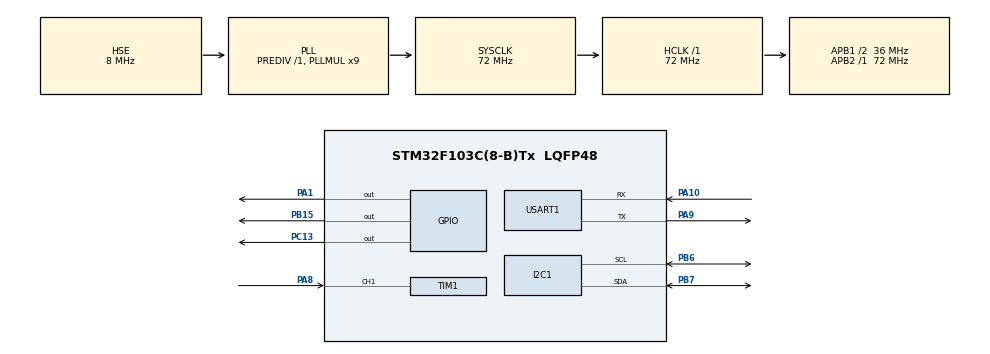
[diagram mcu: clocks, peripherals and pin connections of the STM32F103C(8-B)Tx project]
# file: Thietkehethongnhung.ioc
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Dma.Request0=USART1_RX
Dma.Request1=USART1_TX
Dma.USART1_RX.0.Direction=DMA_PERIPH_TO_MEMORY
Dma.USART1_RX.0.Instance=DMA1_Channel5
Dma.USART1_RX.0.MemDataAlignment=DMA_MDATAALIGN_BYTE
Dma.USART1_RX.0.MemInc=DMA_MINC_ENABLE
Dma.USART1_RX.0.Mode=DMA_NORMAL
Dma.USART1_RX.0.PeriphDataAlignment=DMA_PDATAALIGN_BYTE
Dma.USART1_RX.0.PeriphInc=DMA_PINC_DISABLE
Dma.USART1_RX.0.Priority=DMA_PRIORITY_LOW
Dma.USART1_TX.1.Direction=DMA_MEMORY_TO_PERIPH
Dma.USART1_TX.1.Instance=DMA1_Channel4
Dma.USART1_TX.1.MemDataAlignment=DMA_MDATAALIGN_BYTE
Dma.USART1_TX.1.MemInc=DMA_MINC_ENABLE
Dma.USART1_TX.1.Mode=DMA_NORMAL
Dma.USART1_TX.1.PeriphDataAlignment=DMA_PDATAALIGN_BYTE
Dma.USART1_TX.1.PeriphInc=DMA_PINC_DISABLE
Dma.USART1_TX.1.Priority=DMA_PRIORITY_LOW
FREERTOS.INCLUDE_vTaskDelayUntil=1
FREERTOS.Queues01=myQueue01,16,uint16_t,0,Dynamic,NULL,NULL
FREERTOS.Tasks01=defaultTask,0,128,StartDefaultTask,Default,NULL,Dynamic,NULL,NULL
FREERTOS.configTIMER_TASK_PRIORITY=6
FREERTOS.configUSE_COUNTING_SEMAPHORES=1
FREERTOS.configUSE_TIMERS=1
Mcu.Family=STM32F1
Mcu.Name=STM32F103C(8-B)Tx
Mcu.Package=LQFP48
NVIC.DMA1_Channel4_IRQn=true\:5\:0\:false\:false\:true\:true\:false\:true
NVIC.DMA1_Channel5_IRQn=true\:5\:0\:false\:false\:true\:true\:false\:true
NVIC.PriorityGroup=NVIC_PRIORITYGROUP_4
NVIC.TIM1_CC_IRQn=true\:5\:0\:false\:false\:true\:true\:true\:true
NVIC.TIM2_IRQn=true\:5\:0\:false\:false\:true\:true\:true\:true
NVIC.TIM3_IRQn=true\:0\:0\:false\:false\:true\:false\:false\:true
NVIC.TimeBase=TIM3_IRQn
NVIC.TimeBaseIP=TIM3
NVIC.USART1_IRQn=true\:5\:0\:false\:false\:true\:true\:true\:true
PA1.Signal=GPIO_Output
PA10.Mode=Asynchronous
PA10.Signal=USART1_RX
PA13.Mode=Serial_Wire
PA13.Signal=SYS_JTMS-SWDIO
PA14.Mode=Serial_Wire
PA14.Signal=SYS_JTCK-SWCLK
PA8.Signal=S_TIM1_CH1
PA9.Mode=Asynchronous
PA9.Signal=USART1_TX
PB15.Signal=GPIO_Output
PB6.Mode=I2C
PB6.Signal=I2C1_SCL
PB7.Mode=I2C
PB7.Signal=I2C1_SDA
PC13-TAMPER-RTC.Signal=GPIO_Output
PD0-OSC_IN.Mode=HSE-External-Oscillator
PD0-OSC_IN.Signal=RCC_OSC_IN
PD1-OSC_OUT.Mode=HSE-External-Oscillator
PD1-OSC_OUT.Signal=RCC_OSC_OUT
ProjectManager.HeapSize=0x200
ProjectManager.StackSize=0x400
ProjectManager.TargetToolchain=MDK-ARM V5.27
RCC.AHBFreq_Value=72000000
RCC.APB1CLKDivider=RCC_HCLK_DIV2
RCC.APB1Freq_Value=36000000
RCC.APB1TimFreq_Value=72000000
RCC.APB2Freq_Value=72000000
RCC.APB2TimFreq_Value=72000000
RCC.HCLKFreq_Value=72000000
RCC.PLLMUL=RCC_PLL_MUL9
RCC.PLLSourceVirtual=RCC_PLLSOURCE_HSE
RCC.SYSCLKFreq_VALUE=72000000
RCC.SYSCLKSource=RCC_SYSCLKSOURCE_PLLCLK
RCC.USBFreq_Value=72000000
SH.S_TIM1_CH1.0=TIM1_CH1,Input_Capture1_from_TI1
TIM1.Channel-Input_Capture1_from_TI1=TIM_CHANNEL_1
TIM1.Period=0xffff-1
TIM1.Prescaler=72-1
TIM2.AutoReloadPreload=TIM_AUTORELOAD_PRELOAD_ENABLE
TIM2.Period=1999
TIM2.Prescaler=7200-1
USART1.VirtualMode=VM_ASYNC
VP_FREERTOS_VS_CMSIS_V1.Mode=CMSIS_V1
VP_SYS_VS_tim3.Mode=TIM3
VP_TIM2_VS_ClockSourceINT.Mode=Internal
board=custom

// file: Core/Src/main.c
/* USER CODE BEGIN Header */
/**
  ******************************************************************************
  * @file           : main.c
  * @brief          : Main program body
  ******************************************************************************
  * @attention
  *
  * <h2><center>&copy; Copyright (c) 2022 STMicroelectronics.
  * All rights reserved.</center></h2>
  *
  * This software component is licensed by ST under Ultimate Liberty license
  * SLA0044, the "License"; You may not use this file except in compliance with
  * the License. You may obtain a copy of the License at:
  *                             www.st.com/SLA0044
  *
  ******************************************************************************
  */
/* USER CODE END Header */
#include "main.h"
#include "cmsis_os.h"

/* USER CODE BEGIN Includes */
#include "FreeRTOS.h"
#include "task.h"
#include "timers.h"
#include "queue.h"
#include "semphr.h"
#include "event_groups.h"

#include <stdarg.h>
#include "stdlib.h"
#include "string.h"
#include "stdio.h"
#include "i2c-lcd.h"
#include "HCSR04.h"
#include "DHT22.h"
#include <math.h>
/* USER CODE END Includes */

I2C_HandleTypeDef hi2c1;

TIM_HandleTypeDef htim1;
TIM_HandleTypeDef htim2;

UART_HandleTypeDef huart1;
DMA_HandleTypeDef hdma_usart1_rx;
DMA_HandleTypeDef hdma_usart1_tx;

void SystemClock_Config(void);
static void MX_GPIO_Init(void);
static void MX_DMA_Init(void);
static void MX_I2C1_Init(void);
static void MX_USART1_UART_Init(void);
static void MX_TIM1_Init(void);
static void MX_TIM2_Init(void);

/* USER CODE BEGIN 0 */

//I. Global variable
uint32_t idle_count=0;			// for IdleTask
uint8_t temp,humi,dist;
DHT22_Data_t data;

int fputc(int c, FILE * stream)
{
		HAL_UART_Transmit(&huart1,(uint8_t*)&c,1,10);
		return 0;
}

uint8_t debug_tx_buffer[100];
void print(char *fmt,...)
{
		while(huart1.gState!=HAL_UART_STATE_READY);
		va_list args;
		va_start(args,fmt);
		vsprintf((char*)debug_tx_buffer,fmt,args);
		va_end(args);
		HAL_UART_Transmit_DMA(&huart1,debug_tx_buffer,strlen((const char *)debug_tx_buffer));
}

SemaphoreHandle_t xTaskSemaphore;
SemaphoreHandle_t xLCDSemaphore;
QueueHandle_t     xTaskQueue;
TimerHandle_t 		xTaskTimer;

TaskHandle_t LCD_Handle;																								// Priority=5
TaskHandle_t UART_Handle;																								// Priority=4
TaskHandle_t DHT22_Sensor;																							// Priority=2
TaskHandle_t HCSR04_Sensor;																							// Priority=1
TaskHandle_t Idle_Handle;																								// Priority=0

void LCD_Entry(void *pvParameter);																			// LCD
void UART_Entry(void *pvParameter);															    		// Receiver
void DHT22_Sensor_Entry(void *pvParameter);															// Sender2
void HCSR04_Sensor_Entry(void *pvParameter);														// Sender1
void Idle_Task_Entry(void *pvParameter);																// Idle

typedef enum
{
		Sender1_ID=0,
		Sender2_ID
} Task_ID_t;

typedef struct
{
		float dist;
		float temp;
		float humi;
}	Data_frame;

typedef struct
{
		Task_ID_t  task_id;
		Data_frame frame;
} xQueue_data_type_t;

void vTimerTaskCallback(TimerHandle_t xTimer)
{
		xSemaphoreGive(xLCDSemaphore);
}

/* USER CODE END 0 */

int main(void)
{

  /* MCU Configuration--------------------------------------------------------*/

  /* Reset of all peripherals, Initializes the Flash interface and the Systick. */
  HAL_Init();

  /* Configure the system clock */
  SystemClock_Config();

  /* Initialize all configured peripherals */
  MX_GPIO_Init();
  MX_DMA_Init();
  MX_I2C1_Init();
  MX_USART1_UART_Init();
  MX_TIM1_Init();
  MX_TIM2_Init();
  /* USER CODE BEGIN 2 */

	//@NOTE THAT: htim2.Init.Period = 5999; (600ms) ===> Config

	//I.   LCD Init
		lcd_set_timer(&htim1);

	//II.  HCSR04 Init Timer
		HCSR04_Set_Timer(&htim1);
		//@NOTE: TIM_IC_Start will for us delay (reset CNT) but no affect
		HAL_TIM_IC_Start_IT(&htim1,TIM_CHANNEL_1);																		//For LCD INIT (before calling API lcd_init()
																																									//@because: lcd_init() using Timer

	//III. DHT22 Init
		DHT22_Set_Timer(&htim1);
		HAL_TIM_Base_Start(&htim1);
		data=DHT22_Read_Param();

	//IV. TASK, SEMAPHORE AND QUEUE
		//1. TASK
		xTaskCreate(LCD_Entry,"LCD",128,NULL,4,LCD_Handle);
		xTaskCreate(UART_Entry,"DHT22",128,NULL,3,UART_Handle);												//Receiver
		xTaskCreate(DHT22_Sensor_Entry,"DHT22",128,NULL,2,DHT22_Sensor);							//Take Semaphore- Sender1
		xTaskCreate(HCSR04_Sensor_Entry,"HCSR04",128,NULL,1,HCSR04_Sensor);						//Sender2
		xTaskCreate(Idle_Task_Entry,"DHT22",128,NULL,0,Idle_Handle);

		//2. SEMAPHORE
		xTaskSemaphore=  xSemaphoreCreateBinary();
		xLCDSemaphore =  xSemaphoreCreateBinary();

		if(xTaskSemaphore==NULL||xLCDSemaphore==NULL)
			print("Unable create Semaphore\n");
		else
			print("Create Semaphore Successfully\n");

		//3. QUEUE
		xTaskQueue		=  xQueueCreate(1,sizeof(xQueue_data_type_t));

		//4. SOFTWARE TIMER
		xTaskTimer 		=  xTimerCreate("SoftTimer",pdMS_TO_TICKS(1000),pdTRUE,(void*)0,vTimerTaskCallback);
		xTimerStart(xTaskTimer,0);

	//V. TIMER2 PERIODELAPSED
		HAL_TIM_Base_Start_IT(&htim2);

  /* USER CODE END 2 */

  /* Create the queue(s) */
  /* definition and creation of myQueue01 */

  /* Create the thread(s) */
  /* definition and creation of defaultTask */

  /* USER CODE BEGIN RTOS_THREADS */
  vTaskStartScheduler();
  /* USER CODE END RTOS_THREADS */

  /* Start scheduler */
  /* We should never get here as control is now taken by the scheduler */
  /* Infinite loop */
  while (1)
  {

  }
}

void SystemClock_Config(void)
{
  RCC_OscInitTypeDef RCC_OscInitStruct = {0};
  RCC_ClkInitTypeDef RCC_ClkInitStruct = {0};

  /** Initializes the RCC Oscillators according to the specified parameters
  * in the RCC_OscInitTypeDef structure.
  */
  RCC_OscInitStruct.OscillatorType = RCC_OSCILLATORTYPE_HSE;
  RCC_OscInitStruct.HSEState = RCC_HSE_ON;
  RCC_OscInitStruct.HSEPredivValue = RCC_HSE_PREDIV_DIV1;
  RCC_OscInitStruct.HSIState = RCC_HSI_ON;
  RCC_OscInitStruct.PLL.PLLState = RCC_PLL_ON;
  RCC_OscInitStruct.PLL.PLLSource = RCC_PLLSOURCE_HSE;
  RCC_OscInitStruct.PLL.PLLMUL = RCC_PLL_MUL9;
  if (HAL_RCC_OscConfig(&RCC_OscInitStruct) != HAL_OK)
  {
    Error_Handler();
  }
  /** Initializes the CPU, AHB and APB buses clocks
  */
  RCC_ClkInitStruct.ClockType = RCC_CLOCKTYPE_HCLK|RCC_CLOCKTYPE_SYSCLK
                              |RCC_CLOCKTYPE_PCLK1|RCC_CLOCKTYPE_PCLK2;
  RCC_ClkInitStruct.SYSCLKSource = RCC_SYSCLKSOURCE_PLLCLK;
  RCC_ClkInitStruct.AHBCLKDivider = RCC_SYSCLK_DIV1;
  RCC_ClkInitStruct.APB1CLKDivider = RCC_HCLK_DIV2;
  RCC_ClkInitStruct.APB2CLKDivider = RCC_HCLK_DIV1;

  if (HAL_RCC_ClockConfig(&RCC_ClkInitStruct, FLASH_LATENCY_2) != HAL_OK)
  {
    Error_Handler();
  }
}

static void MX_I2C1_Init(void)
{

  hi2c1.Instance = I2C1;
  hi2c1.Init.ClockSpeed = 100000;
  hi2c1.Init.DutyCycle = I2C_DUTYCYCLE_2;
  hi2c1.Init.OwnAddress1 = 0;
  hi2c1.Init.AddressingMode = I2C_ADDRESSINGMODE_7BIT;
  hi2c1.Init.DualAddressMode = I2C_DUALADDRESS_DISABLE;
  hi2c1.Init.OwnAddress2 = 0;
  hi2c1.Init.GeneralCallMode = I2C_GENERALCALL_DISABLE;
  hi2c1.Init.NoStretchMode = I2C_NOSTRETCH_DISABLE;
  if (HAL_I2C_Init(&hi2c1) != HAL_OK)
  {
    Error_Handler();
  }

}

static void MX_TIM1_Init(void)
{

  TIM_MasterConfigTypeDef sMasterConfig = {0};
  TIM_IC_InitTypeDef sConfigIC = {0};

  htim1.Instance = TIM1;
  htim1.Init.Prescaler = 72-1;
  htim1.Init.CounterMode = TIM_COUNTERMODE_UP;
  htim1.Init.Period = 0xffff-1;
  htim1.Init.ClockDivision = TIM_CLOCKDIVISION_DIV1;
  htim1.Init.RepetitionCounter = 0;
  htim1.Init.AutoReloadPreload = TIM_AUTORELOAD_PRELOAD_DISABLE;
  if (HAL_TIM_IC_Init(&htim1) != HAL_OK)
  {
    Error_Handler();
  }
  sMasterConfig.MasterOutputTrigger = TIM_TRGO_RESET;
  sMasterConfig.MasterSlaveMode = TIM_MASTERSLAVEMODE_DISABLE;
  if (HAL_TIMEx_MasterConfigSynchronization(&htim1, &sMasterConfig) != HAL_OK)
  {
    Error_Handler();
  }
  sConfigIC.ICPolarity = TIM_INPUTCHANNELPOLARITY_RISING;
  sConfigIC.ICSelection = TIM_ICSELECTION_DIRECTTI;
  sConfigIC.ICPrescaler = TIM_ICPSC_DIV1;
  sConfigIC.ICFilter = 0;
  if (HAL_TIM_IC_ConfigChannel(&htim1, &sConfigIC, TIM_CHANNEL_1) != HAL_OK)
  {
    Error_Handler();
  }

}

static void MX_TIM2_Init(void)
{

  TIM_ClockConfigTypeDef sClockSourceConfig = {0};
  TIM_MasterConfigTypeDef sMasterConfig = {0};

  htim2.Instance = TIM2;
  htim2.Init.Prescaler = 7200-1;
  htim2.Init.CounterMode = TIM_COUNTERMODE_UP;
  htim2.Init.Period = 7999;
  htim2.Init.ClockDivision = TIM_CLOCKDIVISION_DIV1;
  htim2.Init.AutoReloadPreload = TIM_AUTORELOAD_PRELOAD_ENABLE;
  if (HAL_TIM_Base_Init(&htim2) != HAL_OK)
  {
    Error_Handler();
  }
  sClockSourceConfig.ClockSource = TIM_CLOCKSOURCE_INTERNAL;
  if (HAL_TIM_ConfigClockSource(&htim2, &sClockSourceConfig) != HAL_OK)
  {
    Error_Handler();
  }
  sMasterConfig.MasterOutputTrigger = TIM_TRGO_RESET;
  sMasterConfig.MasterSlaveMode = TIM_MASTERSLAVEMODE_DISABLE;
  if (HAL_TIMEx_MasterConfigSynchronization(&htim2, &sMasterConfig) != HAL_OK)
  {
    Error_Handler();
  }

}

static void MX_USART1_UART_Init(void)
{

  huart1.Instance = USART1;
  huart1.Init.BaudRate = 115200;
  huart1.Init.WordLength = UART_WORDLENGTH_8B;
  huart1.Init.StopBits = UART_STOPBITS_1;
  huart1.Init.Parity = UART_PARITY_NONE;
  huart1.Init.Mode = UART_MODE_TX_RX;
  huart1.Init.HwFlowCtl = UART_HWCONTROL_NONE;
  huart1.Init.OverSampling = UART_OVERSAMPLING_16;
  if (HAL_UART_Init(&huart1) != HAL_OK)
  {
    Error_Handler();
  }

}

static void MX_DMA_Init(void)
{

  /* DMA controller clock enable */
  __HAL_RCC_DMA1_CLK_ENABLE();

  /* DMA interrupt init */
  /* DMA1_Channel4_IRQn interrupt configuration */
  HAL_NVIC_SetPriority(DMA1_Channel4_IRQn, 5, 0);
  HAL_NVIC_EnableIRQ(DMA1_Channel4_IRQn);
  /* DMA1_Channel5_IRQn interrupt configuration */
  HAL_NVIC_SetPriority(DMA1_Channel5_IRQn, 5, 0);
  HAL_NVIC_EnableIRQ(DMA1_Channel5_IRQn);

}

static void MX_GPIO_Init(void)
{
  GPIO_InitTypeDef GPIO_InitStruct = {0};

  /* GPIO Ports Clock Enable */
  __HAL_RCC_GPIOC_CLK_ENABLE();
  __HAL_RCC_GPIOD_CLK_ENABLE();
  __HAL_RCC_GPIOA_CLK_ENABLE();
  __HAL_RCC_GPIOB_CLK_ENABLE();

  /*Configure GPIO pin Output Level */
  HAL_GPIO_WritePin(GPIOC, GPIO_PIN_13, GPIO_PIN_RESET);

  /*Configure GPIO pin Output Level */
  HAL_GPIO_WritePin(GPIOA, GPIO_PIN_1, GPIO_PIN_RESET);

  /*Configure GPIO pin Output Level */
  HAL_GPIO_WritePin(GPIOB, GPIO_PIN_15, GPIO_PIN_RESET);

  /*Configure GPIO pin : PC13 */
  GPIO_InitStruct.Pin = GPIO_PIN_13;
  GPIO_InitStruct.Mode = GPIO_MODE_OUTPUT_PP;
  GPIO_InitStruct.Pull = GPIO_NOPULL;
  GPIO_InitStruct.Speed = GPIO_SPEED_FREQ_LOW;
  HAL_GPIO_Init(GPIOC, &GPIO_InitStruct);

  /*Configure GPIO pin : PA1 */
  GPIO_InitStruct.Pin = GPIO_PIN_1;
  GPIO_InitStruct.Mode = GPIO_MODE_OUTPUT_PP;
  GPIO_InitStruct.Pull = GPIO_NOPULL;
  GPIO_InitStruct.Speed = GPIO_SPEED_FREQ_LOW;
  HAL_GPIO_Init(GPIOA, &GPIO_InitStruct);

  /*Configure GPIO pin : PB15 */
  GPIO_InitStruct.Pin = GPIO_PIN_15;
  GPIO_InitStruct.Mode = GPIO_MODE_OUTPUT_PP;
  GPIO_InitStruct.Pull = GPIO_NOPULL;
  GPIO_InitStruct.Speed = GPIO_SPEED_FREQ_LOW;
  HAL_GPIO_Init(GPIOB, &GPIO_InitStruct);

}

/* USER CODE BEGIN 4 */

//LCD
void LCD_Entry(void *pvParameter)
{
		char str[20];
		lcd_init();
		while(1)
		{
				xSemaphoreTake(xLCDSemaphore,portMAX_DELAY);
				lcd_goto_XY(1,1);
				sprintf(str,"TEMP=%d HUMI=%d",temp,humi);
				lcd_send_string(str);
				lcd_goto_XY(2,2);
				sprintf(str,"DISTANCE=%d",dist);
				lcd_send_string(str);
				if(dist<10)
				{
					lcd_goto_XY(2,12);
					lcd_send_string("  ");
				}
		}
}

//Receiver: Priority=3
void UART_Entry(void *pvParameter)
{
		xQueue_data_type_t xStructsReceive;
		while(1)
		{
				xQueueReceive(xTaskQueue,&xStructsReceive,portMAX_DELAY);
				if(xStructsReceive.task_id==Sender1_ID)
				{
					temp=xStructsReceive.frame.temp/1;
					humi=xStructsReceive.frame.humi/1;
					print("TEMPERATURE= %f   HUMIDITY= %f\n",xStructsReceive.frame.temp,xStructsReceive.frame.humi);
				}
				else if(xStructsReceive.task_id==Sender2_ID)
				{
					dist=round(xStructsReceive.frame.dist);
					print("DISTANCE= %f\n",xStructsReceive.frame.dist);
				}
		}
}

//Sender1: Priority=2 				DHT22 has higher priority than HCSR04 ==> RUN FIRST and BLOCK by xSemaphoreTake()
void DHT22_Sensor_Entry(void *pvParameter)
{
		xQueue_data_type_t xStructsToSend;
			while(1)
			{
					xSemaphoreTake(xTaskSemaphore,portMAX_DELAY);
					data= DHT22_Read_Param();
					xStructsToSend.task_id=Sender1_ID;
					xStructsToSend.frame.dist=-1;
					xStructsToSend.frame.temp=data.temperature;
					xStructsToSend.frame.humi=data.humidity;
					xQueueSendToBack(xTaskQueue,&xStructsToSend,0);
			}
}

//Sender2: Priority=1
void HCSR04_Sensor_Entry(void *pvParameter)
{
		xQueue_data_type_t xStructsToSend;
//		TickType_t xLastExecutionTime;
//		xLastExecutionTime = xTaskGetTickCount();
		while(1)
		{
//				vTaskDelayUntil( &xLastExecutionTime, pdMS_TO_TICKS(300) );
				float distance=HCSR04_Read();
				xStructsToSend.task_id=Sender2_ID;
				xStructsToSend.frame.dist=distance;
				xStructsToSend.frame.temp=-1;
				xStructsToSend.frame.humi=-1;
				xQueueSendToBack(xTaskQueue,&xStructsToSend,0);
				vTaskDelay(400);

		}
}

//Idle Task: Priority=0
void Idle_Task_Entry(void *pvParameter)
{
		while(1)
		{
				idle_count++;
		}
}

/* USER CODE END 4 */

 /**
  * @brief  Period elapsed callback in non blocking mode
  * @note   This function is called  when TIM3 interrupt took place, inside
  * HAL_TIM_IRQHandler(). It makes a direct call to HAL_IncTick() to increment
  * a global variable "uwTick" used as application time base.
  * @param  htim : TIM handle
  * @retval None
  */
void HAL_TIM_PeriodElapsedCallback(TIM_HandleTypeDef *htim)
{
  /* USER CODE BEGIN Callback 0 */
	if (htim->Instance == TIM2)
	{

		//@NOTE***********I. Release Semaphore for DHT22 Task

		BaseType_t xHigherPriorityTaskWoken = pdFALSE;
		xSemaphoreGiveFromISR(xTaskSemaphore, &xHigherPriorityTaskWoken);  // ISR SAFE VERSION
		portEND_SWITCHING_ISR( xHigherPriorityTaskWoken );
	}
  /* USER CODE END Callback 0 */
  if (htim->Instance == TIM3) {
    HAL_IncTick();
  }
}

void Error_Handler(void)
{
  __disable_irq();
  while (1)
  {
  }
}

/************************ (C) COPYRIGHT STMicroelectronics *****END OF FILE****/
